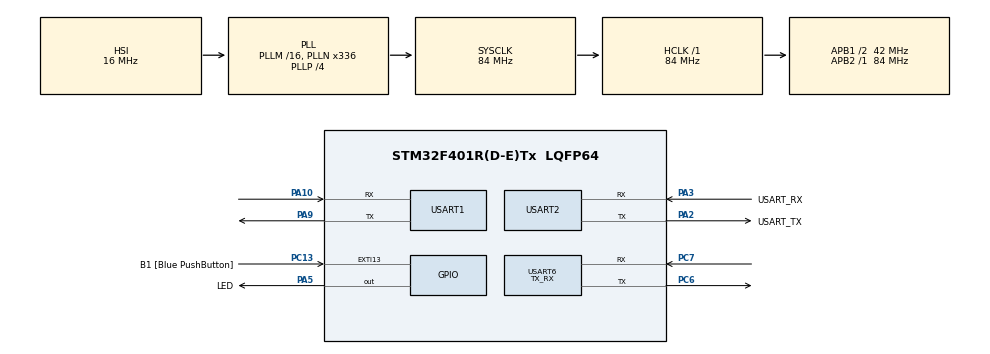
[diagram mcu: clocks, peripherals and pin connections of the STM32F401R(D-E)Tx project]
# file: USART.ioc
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Dma.Request0=USART1_RX
Dma.Request1=USART2_TX
Dma.Request2=TIM1_UP
Dma.TIM1_UP.2.Direction=DMA_PERIPH_TO_MEMORY
Dma.TIM1_UP.2.FIFOMode=DMA_FIFOMODE_DISABLE
Dma.TIM1_UP.2.Instance=DMA2_Stream5
Dma.TIM1_UP.2.MemDataAlignment=DMA_MDATAALIGN_HALFWORD
Dma.TIM1_UP.2.MemInc=DMA_MINC_ENABLE
Dma.TIM1_UP.2.Mode=DMA_NORMAL
Dma.TIM1_UP.2.PeriphDataAlignment=DMA_PDATAALIGN_HALFWORD
Dma.TIM1_UP.2.PeriphInc=DMA_PINC_DISABLE
Dma.TIM1_UP.2.Priority=DMA_PRIORITY_LOW
Dma.USART1_RX.0.Direction=DMA_PERIPH_TO_MEMORY
Dma.USART1_RX.0.FIFOMode=DMA_FIFOMODE_DISABLE
Dma.USART1_RX.0.Instance=DMA2_Stream2
Dma.USART1_RX.0.MemDataAlignment=DMA_MDATAALIGN_BYTE
Dma.USART1_RX.0.MemInc=DMA_MINC_ENABLE
Dma.USART1_RX.0.Mode=DMA_CIRCULAR
Dma.USART1_RX.0.PeriphDataAlignment=DMA_PDATAALIGN_BYTE
Dma.USART1_RX.0.PeriphInc=DMA_PINC_DISABLE
Dma.USART1_RX.0.Priority=DMA_PRIORITY_HIGH
Dma.USART2_TX.1.Direction=DMA_MEMORY_TO_PERIPH
Dma.USART2_TX.1.FIFOMode=DMA_FIFOMODE_DISABLE
Dma.USART2_TX.1.Instance=DMA1_Stream6
Dma.USART2_TX.1.MemDataAlignment=DMA_MDATAALIGN_BYTE
Dma.USART2_TX.1.MemInc=DMA_MINC_ENABLE
Dma.USART2_TX.1.Mode=DMA_NORMAL
Dma.USART2_TX.1.PeriphDataAlignment=DMA_PDATAALIGN_BYTE
Dma.USART2_TX.1.PeriphInc=DMA_PINC_DISABLE
Dma.USART2_TX.1.Priority=DMA_PRIORITY_VERY_HIGH
Mcu.Family=STM32F4
Mcu.Name=STM32F401R(D-E)Tx
Mcu.Package=LQFP64
NVIC.DMA1_Stream6_IRQn=true\:0\:1\:false\:false\:true\:false\:true\:true
NVIC.DMA2_Stream2_IRQn=true\:0\:1\:true\:false\:true\:false\:true\:true
NVIC.DMA2_Stream5_IRQn=true\:0\:0\:false\:false\:true\:false\:true\:true
NVIC.PriorityGroup=NVIC_PRIORITYGROUP_0
NVIC.TIM1_CC_IRQn=true\:0\:6\:true\:false\:true\:true\:true\:true
NVIC.USART1_IRQn=true\:0\:0\:false\:false\:true\:true\:true\:true
NVIC.USART2_IRQn=true\:0\:1\:true\:false\:true\:true\:true\:true
NVIC.USART6_IRQn=true\:0\:0\:false\:false\:true\:true\:true\:true
PA10.Mode=Asynchronous
PA10.Signal=USART1_RX
PA13.GPIO_Label=TMS
PA13.Mode=Serial_Wire
PA13.Signal=SYS_JTMS-SWDIO
PA14.GPIO_Label=TCK
PA14.Mode=Serial_Wire
PA14.Signal=SYS_JTCK-SWCLK
PA2.GPIO_Label=USART_TX
PA2.GPIO_Mode=GPIO_MODE_AF_PP
PA2.GPIO_PuPd=GPIO_NOPULL
PA2.GPIO_Speed=GPIO_SPEED_FREQ_LOW
PA2.Mode=Asynchronous
PA2.Signal=USART2_TX
PA3.GPIO_Label=USART_RX
PA3.GPIO_Mode=GPIO_MODE_AF_PP
PA3.GPIO_PuPd=GPIO_NOPULL
PA3.GPIO_Speed=GPIO_SPEED_FREQ_LOW
PA3.Mode=Asynchronous
PA3.Signal=USART2_RX
PA5.GPIO_Label=LED
PA5.GPIO_Mode=GPIO_MODE_OUTPUT_PP
PA5.GPIO_PuPd=GPIO_NOPULL
PA5.GPIO_Speed=GPIO_SPEED_FREQ_LOW
PA5.Signal=GPIO_Output
PA9.Mode=Asynchronous
PA9.Signal=USART1_TX
PB3.GPIO_Label=SWO
PB3.Signal=SYS_JTDO-SWO
PC13-ANTI_TAMP.GPIO_Label=B1 [Blue PushButton]
PC13-ANTI_TAMP.GPIO_ModeDefaultEXTI=GPIO_MODE_IT_FALLING
PC13-ANTI_TAMP.GPIO_PuPd=GPIO_NOPULL
PC13-ANTI_TAMP.Signal=GPXTI13
PC14-OSC32_IN.Mode=LSE-External-Oscillator
PC14-OSC32_IN.Signal=RCC_OSC32_IN
PC15-OSC32_OUT.Mode=LSE-External-Oscillator
PC15-OSC32_OUT.Signal=RCC_OSC32_OUT
PC6.Mode=Asynchronous
PC6.Signal=USART6_TX
PC7.Mode=Asynchronous
PC7.Signal=USART6_RX
PH0\ -\ OSC_IN.Mode=HSE-External-Clock-Source
PH0\ -\ OSC_IN.Signal=RCC_OSC_IN
PH1\ -\ OSC_OUT.Mode=HSE-External-Clock-Source
PH1\ -\ OSC_OUT.Signal=RCC_OSC_OUT
ProjectManager.HeapSize=0x200
ProjectManager.StackSize=0x400
ProjectManager.TargetToolchain=STM32CubeIDE
RCC.48MHZClocksFreq_Value=48000000
RCC.AHBFreq_Value=84000000
RCC.APB1CLKDivider=RCC_HCLK_DIV2
RCC.APB1Freq_Value=42000000
RCC.APB1TimFreq_Value=84000000
RCC.APB2Freq_Value=84000000
RCC.APB2TimFreq_Value=84000000
RCC.CortexFreq_Value=84000000
RCC.HCLKFreq_Value=84000000
RCC.HSE_VALUE=8000000
RCC.HSI_VALUE=16000000
RCC.PLLN=336
RCC.PLLP=RCC_PLLP_DIV4
RCC.PLLQ=7
RCC.SYSCLKFreq_VALUE=84000000
RCC.SYSCLKSource=RCC_SYSCLKSOURCE_PLLCLK
RCC.VCOOutputFreq_Value=336000000
TIM1.AutoReloadPreload=TIM_AUTORELOAD_PRELOAD_DISABLE
TIM1.Channel-Output\ Compare1\ No\ Output=TIM_CHANNEL_1
TIM1.Period=100 - 1
TIM1.Prescaler=8400 - 1
TIM1.TIM_MasterSlaveMode=TIM_MASTERSLAVEMODE_DISABLE
USART1.VirtualMode=VM_ASYNC
USART2.VirtualMode=VM_ASYNC
USART6.Mode=MODE_TX_RX
USART6.VirtualMode=VM_ASYNC
VP_TIM1_VS_ClockSourceINT.Mode=Internal
VP_TIM1_VS_no_output1.Mode=Output Compare1 No Output
board=NUCLEO-F401RE

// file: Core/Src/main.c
/* USER CODE BEGIN Header */
/**
  ******************************************************************************
  * @file           : main.c
  * @brief          : Main program body
  ******************************************************************************
  * @attention
  *
  * Copyright (c) 2022 STMicroelectronics.
  * All rights reserved.
  *
  * This software is licensed under terms that can be found in the LICENSE file
  * in the root directory of this software component.
  * If no LICENSE file comes with this software, it is provided AS-IS.
  *
  ******************************************************************************
  */
/* USER CODE END Header */
#include "main.h"

/* USER CODE BEGIN Includes */
#include "stdbool.h"
#include "string.h"
#include "stdlib.h"
#include "math.h"
/* USER CODE END Includes */

 TIM_HandleTypeDef htim1;
DMA_HandleTypeDef hdma_tim1_up;

UART_HandleTypeDef huart1;
UART_HandleTypeDef huart2;
UART_HandleTypeDef huart6;
DMA_HandleTypeDef hdma_usart1_rx;
DMA_HandleTypeDef hdma_usart2_tx;

void SystemClock_Config(void);
static void MX_GPIO_Init(void);
static void MX_DMA_Init(void);
static void MX_USART2_UART_Init(void);
static void MX_USART6_UART_Init(void);
static void MX_TIM1_Init(void);
static void MX_USART1_UART_Init(void);

/* USER CODE BEGIN 0 */
static HAL_StatusTypeDef rcvStat;
static float IMU_sensor[9];
static uint8_t Rx_buffer[100] = {0,}; // �?? ?��보�?? ???��?�� 배열
volatile uint8_t USART_CNT = 0; // ???���?? 주기
static uint8_t Rx_data; //1바이?��?�� 받아?��?��?��.
int Rx_indx=0;
static int flag = 0;

volatile double data[15];
volatile double datas[15];
volatile bool gotPacket = true;
#define BUF_SIZE 100
volatile static uint8_t Buffer[BUF_SIZE] = {0,};
volatile static uint8_t Buffers[BUF_SIZE] = {0,};
volatile static uint8_t Bufferss[BUF_SIZE] = "HELLO World\r\n";
volatile static uint8_t head = 0;
volatile static uint8_t heads = 0;;
volatile static uint8_t data_cnt;
static uint8_t rx_data;
static uint8_t cnt;
static uint8_t k=0;
volatile uint8_t str[10];

void HAL_UART_RxCpltCallback(UART_HandleTypeDef *huart)
{

	if(huart->Instance == USART1)
	{

		if(HAL_UART_Receive_DMA(&huart1, &rx_data, 1) == HAL_OK);
		{
			Buffers[heads++] = rx_data;
			if(gotPacket == true)
			{
				if(rx_data =='*')
				{

				}
				else if(rx_data==',')
				{
					Buffer[head] = '\0';
					data[data_cnt] = atof(Buffer);
					data_cnt+=1;
					head = 0;

				}
				else if(rx_data == '\r')
				{
					Buffer[head]  = '\0';
					data[data_cnt]= atof(Buffer);
					Buffer[head] = '\r';
					head +=1;

				}
				else if(rx_data == '\n')
				{
					Buffer[head] = rx_data;
					head = 0;
					data_cnt =0;
					gotPacket = false;
					heads= 0;
				}
				else
				{
					Buffer[head++] = rx_data;
				}
			}
		}
	}

}

void HAL_TIM_PeriodElapsedCallback(TIM_HandleTypeDef *htim)
{
	double Sensor1;
	double Sensor2;
	uint8_t star[2]={0X2A,};

	if(htim->Instance == TIM1)
	{
		USART_CNT++;

		//HAL_DMA_Start(&hdma_tim1_up, (uint32_t)Bufferss, (uint32_t)&USART2->DR, sizeof(Bufferss));
		if(USART_CNT == 80)
		{
			HAL_UART_Transmit(&huart1, star, 1, 1000);
			//HAL_DMA_Start_IT(hdma, SrcAddress, DstAddress, DataLength)
		}
		else if(USART_CNT == 100)
		{
			//HAL_GPIO_TogglePin(LED_GPIO_Port, LED_Pin);
			//HAL_UART_Transmit_DMA(&huart2, Bufferss, sizeof(Bufferss));
			USART_CNT = 0;
			HAL_UART_Transmit_DMA(&huart2, Buffers, sizeof(Buffers));
			if(gotPacket == false)
			{
				sprintf(str, "%d \r\n", k);

				//HAL_UART_Transmit_DMA(&huart2, Buffers, sizeof(Buffers));
				//HAL_UART_Transmit_DMA(&huart2, str, sizeof(str));
				gotPacket = true;
				//__WFI()
				k++;
				//

			}
		}
		else if(USART_CNT == 120)
		{
			USART_CNT = 0;
			Rx_indx=0;
			for(int temp_size=0; temp_size<100;temp_size++) // 배열 초기화
			{
				Buffers[temp_size] = 0X00;
			}
		}

	}
}

/* USER CODE END 0 */

int main(void)
{

  /* MCU Configuration--------------------------------------------------------*/

  /* Reset of all peripherals, Initializes the Flash interface and the Systick. */
  HAL_Init();

  /* Configure the system clock */
  SystemClock_Config();

  /* Initialize all configured peripherals */
  MX_GPIO_Init();
  MX_DMA_Init();
  MX_USART2_UART_Init();
  MX_USART6_UART_Init();
  MX_TIM1_Init();
  MX_USART1_UART_Init();
  /* USER CODE BEGIN 2 */
  HAL_TIM_Base_Start_IT(&htim1);
  HAL_TIM_IC_Start_IT(&htim1, TIM_CHANNEL_1);
  HAL_TIM_PWM_Start_IT(&htim1, TIM_CHANNEL_4);
  __HAL_UART_ENABLE_IT(&huart1, UART_IT_RXNE);
  __HAL_UART_ENABLE_IT(&huart1, UART_IT_TC);
  __HAL_UART_ENABLE_IT(&huart6, UART_IT_RXNE);
  __HAL_UART_ENABLE_IT(&huart6, UART_IT_TC);
  __HAL_UART_ENABLE_IT(&huart2, UART_IT_RXNE);
  __HAL_UART_ENABLE_IT(&huart2, UART_IT_TC);
  HAL_UART_Receive_IT (&huart1, &Rx_data, 1);
  //HAL_DMA_Start(&hdma_tim1_up, (uint32_t)Bufferss, (uint32_t)&USART2->DR, sizeof(Bufferss));
  /* USER CODE END 2 */

  /* Infinite loop */
  while (1)
  {

  }
}

void SystemClock_Config(void)
{
  RCC_OscInitTypeDef RCC_OscInitStruct = {0};
  RCC_ClkInitTypeDef RCC_ClkInitStruct = {0};

  /** Configure the main internal regulator output voltage
  */
  __HAL_RCC_PWR_CLK_ENABLE();
  __HAL_PWR_VOLTAGESCALING_CONFIG(PWR_REGULATOR_VOLTAGE_SCALE2);

  /** Initializes the RCC Oscillators according to the specified parameters
  * in the RCC_OscInitTypeDef structure.
  */
  RCC_OscInitStruct.OscillatorType = RCC_OSCILLATORTYPE_HSI;
  RCC_OscInitStruct.HSIState = RCC_HSI_ON;
  RCC_OscInitStruct.HSICalibrationValue = RCC_HSICALIBRATION_DEFAULT;
  RCC_OscInitStruct.PLL.PLLState = RCC_PLL_ON;
  RCC_OscInitStruct.PLL.PLLSource = RCC_PLLSOURCE_HSI;
  RCC_OscInitStruct.PLL.PLLM = 16;
  RCC_OscInitStruct.PLL.PLLN = 336;
  RCC_OscInitStruct.PLL.PLLP = RCC_PLLP_DIV4;
  RCC_OscInitStruct.PLL.PLLQ = 7;
  if (HAL_RCC_OscConfig(&RCC_OscInitStruct) != HAL_OK)
  {
    Error_Handler();
  }

  /** Initializes the CPU, AHB and APB buses clocks
  */
  RCC_ClkInitStruct.ClockType = RCC_CLOCKTYPE_HCLK|RCC_CLOCKTYPE_SYSCLK
                              |RCC_CLOCKTYPE_PCLK1|RCC_CLOCKTYPE_PCLK2;
  RCC_ClkInitStruct.SYSCLKSource = RCC_SYSCLKSOURCE_PLLCLK;
  RCC_ClkInitStruct.AHBCLKDivider = RCC_SYSCLK_DIV1;
  RCC_ClkInitStruct.APB1CLKDivider = RCC_HCLK_DIV2;
  RCC_ClkInitStruct.APB2CLKDivider = RCC_HCLK_DIV1;

  if (HAL_RCC_ClockConfig(&RCC_ClkInitStruct, FLASH_LATENCY_2) != HAL_OK)
  {
    Error_Handler();
  }
}

static void MX_TIM1_Init(void)
{

  TIM_ClockConfigTypeDef sClockSourceConfig = {0};
  TIM_MasterConfigTypeDef sMasterConfig = {0};
  TIM_OC_InitTypeDef sConfigOC = {0};
  TIM_BreakDeadTimeConfigTypeDef sBreakDeadTimeConfig = {0};

  htim1.Instance = TIM1;
  htim1.Init.Prescaler = 8400 - 1;
  htim1.Init.CounterMode = TIM_COUNTERMODE_UP;
  htim1.Init.Period = 100 - 1;
  htim1.Init.ClockDivision = TIM_CLOCKDIVISION_DIV1;
  htim1.Init.RepetitionCounter = 0;
  htim1.Init.AutoReloadPreload = TIM_AUTORELOAD_PRELOAD_DISABLE;
  if (HAL_TIM_Base_Init(&htim1) != HAL_OK)
  {
    Error_Handler();
  }
  sClockSourceConfig.ClockSource = TIM_CLOCKSOURCE_INTERNAL;
  if (HAL_TIM_ConfigClockSource(&htim1, &sClockSourceConfig) != HAL_OK)
  {
    Error_Handler();
  }
  if (HAL_TIM_OC_Init(&htim1) != HAL_OK)
  {
    Error_Handler();
  }
  sMasterConfig.MasterOutputTrigger = TIM_TRGO_RESET;
  sMasterConfig.MasterSlaveMode = TIM_MASTERSLAVEMODE_DISABLE;
  if (HAL_TIMEx_MasterConfigSynchronization(&htim1, &sMasterConfig) != HAL_OK)
  {
    Error_Handler();
  }
  sConfigOC.OCMode = TIM_OCMODE_TIMING;
  sConfigOC.Pulse = 0;
  sConfigOC.OCPolarity = TIM_OCPOLARITY_HIGH;
  sConfigOC.OCNPolarity = TIM_OCNPOLARITY_HIGH;
  sConfigOC.OCFastMode = TIM_OCFAST_DISABLE;
  sConfigOC.OCIdleState = TIM_OCIDLESTATE_RESET;
  sConfigOC.OCNIdleState = TIM_OCNIDLESTATE_RESET;
  if (HAL_TIM_OC_ConfigChannel(&htim1, &sConfigOC, TIM_CHANNEL_1) != HAL_OK)
  {
    Error_Handler();
  }
  sBreakDeadTimeConfig.OffStateRunMode = TIM_OSSR_DISABLE;
  sBreakDeadTimeConfig.OffStateIDLEMode = TIM_OSSI_DISABLE;
  sBreakDeadTimeConfig.LockLevel = TIM_LOCKLEVEL_OFF;
  sBreakDeadTimeConfig.DeadTime = 0;
  sBreakDeadTimeConfig.BreakState = TIM_BREAK_DISABLE;
  sBreakDeadTimeConfig.BreakPolarity = TIM_BREAKPOLARITY_HIGH;
  sBreakDeadTimeConfig.AutomaticOutput = TIM_AUTOMATICOUTPUT_DISABLE;
  if (HAL_TIMEx_ConfigBreakDeadTime(&htim1, &sBreakDeadTimeConfig) != HAL_OK)
  {
    Error_Handler();
  }

}

static void MX_USART1_UART_Init(void)
{

  huart1.Instance = USART1;
  huart1.Init.BaudRate = 115200;
  huart1.Init.WordLength = UART_WORDLENGTH_8B;
  huart1.Init.StopBits = UART_STOPBITS_1;
  huart1.Init.Parity = UART_PARITY_NONE;
  huart1.Init.Mode = UART_MODE_TX_RX;
  huart1.Init.HwFlowCtl = UART_HWCONTROL_NONE;
  huart1.Init.OverSampling = UART_OVERSAMPLING_16;
  if (HAL_UART_Init(&huart1) != HAL_OK)
  {
    Error_Handler();
  }

}

static void MX_USART2_UART_Init(void)
{

  huart2.Instance = USART2;
  huart2.Init.BaudRate = 115200;
  huart2.Init.WordLength = UART_WORDLENGTH_8B;
  huart2.Init.StopBits = UART_STOPBITS_1;
  huart2.Init.Parity = UART_PARITY_NONE;
  huart2.Init.Mode = UART_MODE_TX_RX;
  huart2.Init.HwFlowCtl = UART_HWCONTROL_NONE;
  huart2.Init.OverSampling = UART_OVERSAMPLING_16;
  if (HAL_UART_Init(&huart2) != HAL_OK)
  {
    Error_Handler();
  }

}

static void MX_USART6_UART_Init(void)
{

  huart6.Instance = USART6;
  huart6.Init.BaudRate = 115200;
  huart6.Init.WordLength = UART_WORDLENGTH_8B;
  huart6.Init.StopBits = UART_STOPBITS_1;
  huart6.Init.Parity = UART_PARITY_NONE;
  huart6.Init.Mode = UART_MODE_TX_RX;
  huart6.Init.HwFlowCtl = UART_HWCONTROL_NONE;
  huart6.Init.OverSampling = UART_OVERSAMPLING_16;
  if (HAL_UART_Init(&huart6) != HAL_OK)
  {
    Error_Handler();
  }

}

static void MX_DMA_Init(void)
{

  /* DMA controller clock enable */
  __HAL_RCC_DMA2_CLK_ENABLE();
  __HAL_RCC_DMA1_CLK_ENABLE();

  /* DMA interrupt init */
  /* DMA1_Stream6_IRQn interrupt configuration */
  HAL_NVIC_SetPriority(DMA1_Stream6_IRQn, 0, 1);
  HAL_NVIC_EnableIRQ(DMA1_Stream6_IRQn);
  /* DMA2_Stream2_IRQn interrupt configuration */
  HAL_NVIC_SetPriority(DMA2_Stream2_IRQn, 0, 1);
  HAL_NVIC_EnableIRQ(DMA2_Stream2_IRQn);
  /* DMA2_Stream5_IRQn interrupt configuration */
  HAL_NVIC_SetPriority(DMA2_Stream5_IRQn, 0, 0);
  HAL_NVIC_EnableIRQ(DMA2_Stream5_IRQn);

}

static void MX_GPIO_Init(void)
{
  GPIO_InitTypeDef GPIO_InitStruct = {0};

  /* GPIO Ports Clock Enable */
  __HAL_RCC_GPIOC_CLK_ENABLE();
  __HAL_RCC_GPIOH_CLK_ENABLE();
  __HAL_RCC_GPIOA_CLK_ENABLE();
  __HAL_RCC_GPIOB_CLK_ENABLE();

  /*Configure GPIO pin Output Level */
  HAL_GPIO_WritePin(LED_GPIO_Port, LED_Pin, GPIO_PIN_RESET);

  /*Configure GPIO pin : B1_Pin */
  GPIO_InitStruct.Pin = B1_Pin;
  GPIO_InitStruct.Mode = GPIO_MODE_IT_FALLING;
  GPIO_InitStruct.Pull = GPIO_NOPULL;
  HAL_GPIO_Init(B1_GPIO_Port, &GPIO_InitStruct);

  /*Configure GPIO pin : LED_Pin */
  GPIO_InitStruct.Pin = LED_Pin;
  GPIO_InitStruct.Mode = GPIO_MODE_OUTPUT_PP;
  GPIO_InitStruct.Pull = GPIO_NOPULL;
  GPIO_InitStruct.Speed = GPIO_SPEED_FREQ_LOW;
  HAL_GPIO_Init(LED_GPIO_Port, &GPIO_InitStruct);

}

void Error_Handler(void)
{
  __disable_irq();
  while (1)
  {
  }
}
